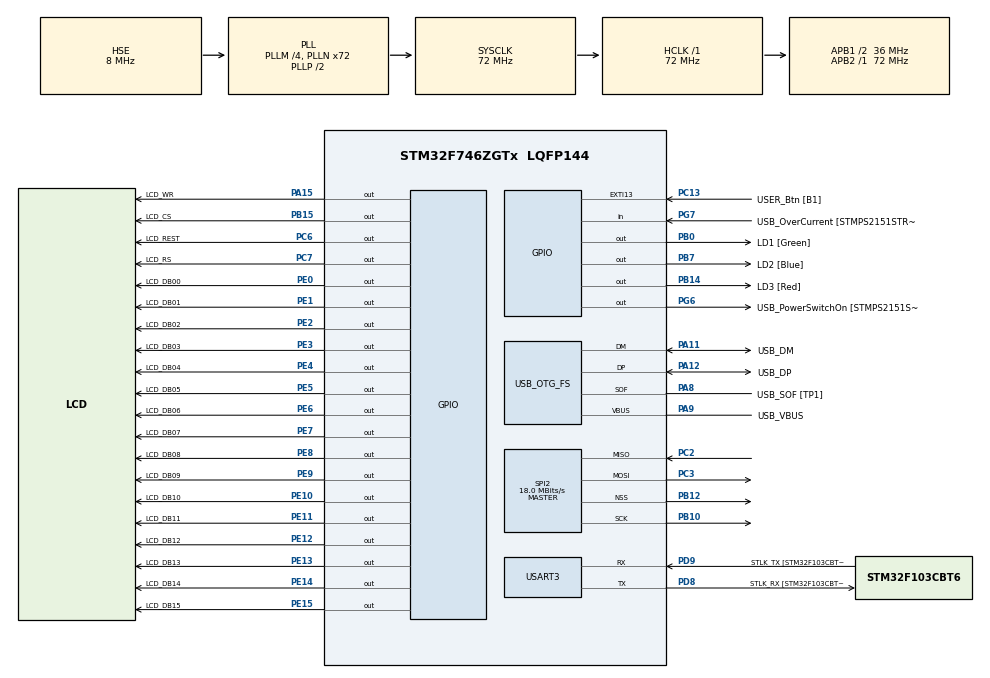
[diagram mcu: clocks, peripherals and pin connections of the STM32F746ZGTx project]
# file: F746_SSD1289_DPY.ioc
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Mcu.Family=STM32F7
Mcu.Name=STM32F746ZGTx
Mcu.Package=LQFP144
NVIC.PriorityGroup=NVIC_PRIORITYGROUP_4
NVIC.TIM1_UP_TIM10_IRQn=true\:0\:0\:false\:false\:true\:true\:true\:true
PA1.GPIO_Label=RMII_REF_CLK [LAN8742A-CZ-TR_REFCLK0]
PA1.Signal=ETH_REF_CLK
PA10.GPIO_Label=USB_ID
PA10.Signal=USB_OTG_FS_ID
PA11.GPIO_Label=USB_DM
PA11.Mode=Device_Only
PA11.Signal=USB_OTG_FS_DM
PA12.GPIO_Label=USB_DP
PA12.Mode=Device_Only
PA12.Signal=USB_OTG_FS_DP
PA13.GPIO_Label=TMS
PA13.Mode=Serial_Wire
PA13.Signal=SYS_JTMS-SWDIO
PA14.GPIO_Label=TCK
PA14.Mode=Serial_Wire
PA14.Signal=SYS_JTCK-SWCLK
PA15.GPIO_Label=LCD_WR
PA15.Signal=GPIO_Output
PA2.GPIO_Label=RMII_MDIO [LAN8742A-CZ-TR_MDIO]
PA2.Signal=ETH_MDIO
PA7.GPIO_Label=RMII_CRS_DV [LAN8742A-CZ-TR_CRS_DV]
PA7.Signal=ETH_CRS_DV
PA8.GPIO_Label=USB_SOF [TP1]
PA8.Mode=Activate_SOF_FS
PA8.Signal=USB_OTG_FS_SOF
PA9.GPIO_Label=USB_VBUS
PA9.Mode=Activate_VBUS
PA9.Signal=USB_OTG_FS_VBUS
PB0.GPIO_Label=LD1 [Green]
PB0.Signal=GPIO_Output
PB10.Mode=Full_Duplex_Master
PB10.Signal=SPI2_SCK
PB12.Mode=NSS_Signal_Hard_Output
PB12.Signal=SPI2_NSS
PB13.GPIO_Label=RMII_TXD1 [LAN8742A-CZ-TR_TXD1]
PB13.Signal=ETH_TXD1
PB14.GPIO_Label=LD3 [Red]
PB14.Signal=GPIO_Output
PB15.GPIO_Label=LCD_CS
PB15.Signal=GPIO_Output
PB3.GPIO_Label=SW0
PB3.Signal=SYS_JTDO-SWO
PB7.GPIO_Label=LD2 [Blue]
PB7.Signal=GPIO_Output
PC1.GPIO_Label=RMII_MDC [LAN8742A-CZ-TR_MDC]
PC1.Signal=ETH_MDC
PC13.GPIO_Label=USER_Btn [B1]
PC13.Signal=GPXTI13
PC14/OSC32_IN.Mode=LSE-External-Oscillator
PC14/OSC32_IN.Signal=RCC_OSC32_IN
PC15/OSC32_OUT.Mode=LSE-External-Oscillator
PC15/OSC32_OUT.Signal=RCC_OSC32_OUT
PC2.Mode=Full_Duplex_Master
PC2.Signal=SPI2_MISO
PC3.Mode=Full_Duplex_Master
PC3.Signal=SPI2_MOSI
PC4.GPIO_Label=RMII_RXD0 [LAN8742A-CZ-TR_RXD0]
PC4.Signal=ETH_RXD0
PC5.GPIO_Label=RMII_RXD1 [LAN8742A-CZ-TR_RXD1]
PC5.Signal=ETH_RXD1
PC6.GPIO_Label=LCD_REST
PC6.Signal=GPIO_Output
PC7.GPIO_Label=LCD_RS
PC7.Signal=GPIO_Output
PD8.GPIO_Label=STLK_RX [STM32F103CBT6_PA3]
PD8.Mode=Asynchronous
PD8.Signal=USART3_TX
PD9.GPIO_Label=STLK_TX [STM32F103CBT6_PA2]
PD9.Mode=Asynchronous
PD9.Signal=USART3_RX
PE0.GPIO_Label=LCD_DB00
PE0.Signal=GPIO_Output
PE1.GPIO_Label=LCD_DB01
PE1.Signal=GPIO_Output
PE10.GPIO_Label=LCD_DB10
PE10.Signal=GPIO_Output
PE11.GPIO_Label=LCD_DB11
PE11.Signal=GPIO_Output
PE12.GPIO_Label=LCD_DB12
PE12.Signal=GPIO_Output
PE13.GPIO_Label=LCD_DB13
PE13.Signal=GPIO_Output
PE14.GPIO_Label=LCD_DB14
PE14.Signal=GPIO_Output
PE15.GPIO_Label=LCD_DB15
PE15.Signal=GPIO_Output
PE2.GPIO_Label=LCD_DB02
PE2.Signal=GPIO_Output
PE3.GPIO_Label=LCD_DB03
PE3.Signal=GPIO_Output
PE4.GPIO_Label=LCD_DB04
PE4.Signal=GPIO_Output
PE5.GPIO_Label=LCD_DB05
PE5.Signal=GPIO_Output
PE6.GPIO_Label=LCD_DB06
PE6.Signal=GPIO_Output
PE7.GPIO_Label=LCD_DB07
PE7.Signal=GPIO_Output
PE8.GPIO_Label=LCD_DB08
PE8.Signal=GPIO_Output
PE9.GPIO_Label=LCD_DB09
PE9.Signal=GPIO_Output
PG11.GPIO_Label=RMII_TX_EN [LAN8742A-CZ-TR_TXEN]
PG11.Signal=ETH_TX_EN
PG13.GPIO_Label=RMII_TXD0 [LAN8742A-CZ-TR_TXD0]
PG13.Signal=ETH_TXD0
PG6.GPIO_Label=USB_PowerSwitchOn [STMPS2151STR_EN]
PG6.Signal=GPIO_Output
PG7.GPIO_Label=USB_OverCurrent [STMPS2151STR_FAULT]
PG7.Signal=GPIO_Input
PH0/OSC_IN.GPIO_Label=MCO [STM32F103CBT6_PA8]
PH0/OSC_IN.Mode=HSE-External-Clock-Source
PH0/OSC_IN.Signal=RCC_OSC_IN
PH1/OSC_OUT.Mode=HSE-External-Clock-Source
PH1/OSC_OUT.Signal=RCC_OSC_OUT
ProjectManager.HeapSize=0x200
ProjectManager.StackSize=0x400
ProjectManager.TargetToolchain=STM32CubeIDE
RCC.48MHZClocksFreq_Value=24000000
RCC.AHBFreq_Value=72000000
RCC.APB1CLKDivider=RCC_HCLK_DIV2
RCC.APB1Freq_Value=36000000
RCC.APB1TimFreq_Value=72000000
RCC.APB2Freq_Value=72000000
RCC.APB2TimFreq_Value=72000000
RCC.CortexFreq_Value=72000000
RCC.HCLKFreq_Value=72000000
RCC.HSE_VALUE=8000000
RCC.HSI_VALUE=16000000
RCC.PLLM=4
RCC.PLLMUL=RCC_PLL_MUL9
RCC.PLLN=72
RCC.PLLQ=3
RCC.PRESCALERUSB=RCC_USBCLKSOURCE_PLL_DIV1_5
RCC.SYSCLKFreq_VALUE=72000000
RCC.SYSCLKSource=RCC_SYSCLKSOURCE_PLLCLK
RCC.SYSCLKSourceVirtual=RCC_SYSCLKSOURCE_PLLCLK
RCC.USBFreq_Value=48000000
RCC.VCOOutputFreq_Value=144000000
SPI2.CalculateBaudRate=18.0 MBits/s
SPI2.Direction=SPI_DIRECTION_2LINES
SPI2.Mode=SPI_MODE_MASTER
SPI2.VirtualNSS=VM_NSSHARD
SPI2.VirtualType=VM_MASTER
TIM10.AutoReloadPreload=TIM_AUTORELOAD_PRELOAD_ENABLE
TIM10.Period=7200
TIM10.Prescaler=10000
USART3.VirtualMode-Asynchronous=VM_ASYNC
USB_OTG_FS.VirtualMode=Device_Only
VP_TIM10_VS_ClockSourceINT.Mode=Enable_Timer
board=NUCLEO-F746ZG

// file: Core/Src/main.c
/* USER CODE BEGIN Header */
/**
  ******************************************************************************
  * @file           : main.c
  * @brief          : Main program body
  ******************************************************************************
  * @attention
  *
  * Copyright (c) 2022 STMicroelectronics.
  * All rights reserved.
  *
  * This software is licensed under terms that can be found in the LICENSE file
  * in the root directory of this software component.
  * If no LICENSE file comes with this software, it is provided AS-IS.
  *
  ******************************************************************************
  */
/* USER CODE END Header */
#include "main.h"

/* USER CODE BEGIN Includes */
//#include "main_cpp.hpp"
#include "ssd1289/lcd_main.h"
#include "ssd1289/ssd1289_hal.h"
#include <stdio.h>
/* USER CODE END Includes */

SPI_HandleTypeDef hspi2;

TIM_HandleTypeDef htim10;

UART_HandleTypeDef huart3;

PCD_HandleTypeDef hpcd_USB_OTG_FS;

/* USER CODE BEGIN PV */
uint32_t LED_Fun_Cnt = 0;
char CounterText[24];
/* USER CODE END PV */

void SystemClock_Config(void);
static void MX_GPIO_Init(void);
static void MX_USART3_UART_Init(void);
static void MX_USB_OTG_FS_PCD_Init(void);
static void MX_SPI2_Init(void);
static void MX_TIM10_Init(void);

/* USER CODE BEGIN 0 */
void NUCLEO_LEDs_FUN() {
	int r = rand() % 8;
	GPIO_PinState ps;
	  ps = ((r & 0x01) > 0) ? GPIO_PIN_SET : GPIO_PIN_RESET;
	  HAL_GPIO_WritePin(LD1_GPIO_Port, LD1_Pin, ps);
	  ps = ((r & 0x02) > 0) ? GPIO_PIN_SET : GPIO_PIN_RESET;
	  HAL_GPIO_WritePin(LD2_GPIO_Port, LD2_Pin, ps);
	  ps = ((r & 0x04) > 0) ? GPIO_PIN_SET : GPIO_PIN_RESET;
	  HAL_GPIO_WritePin(LD3_GPIO_Port, LD3_Pin, ps);
	LED_Fun_Cnt++;
}
/* USER CODE END 0 */

int main(void)
{

  /* MCU Configuration--------------------------------------------------------*/

  /* Reset of all peripherals, Initializes the Flash interface and the Systick. */
  HAL_Init();

  /* Configure the system clock */
  SystemClock_Config();

  /* Initialize all configured peripherals */
  MX_GPIO_Init();
  MX_USART3_UART_Init();
  MX_USB_OTG_FS_PCD_Init();
  MX_SPI2_Init();
  MX_TIM10_Init();
  /* USER CODE BEGIN 2 */
  HAL_TIM_Base_Start_IT(&htim10);

  //main_cpp(); /// <<<<<<<<<<<<<<<<< your c++ Infinite loop
  /* USER CODE END 2 */

  /* Infinite loop */
  /* USER CODE BEGIN WHILE */
  LCD_Initialise();

  //lcd_main();
  while (1)
  {
	  LCD_Writeln(5, 20, "SIMON");
	  sprintf(CounterText, "Cnt: %4d    ", (int)LED_Fun_Cnt);
	  LCD_Rect_Fill(70, 25, 140, 40, BLACK);
	  LCD_Writeln(5, 40, CounterText);

    /* USER CODE END WHILE */

    /* USER CODE BEGIN 3 */
	  HAL_Delay(100);
  }
  /* USER CODE END 3 */
}

void SystemClock_Config(void)
{
  RCC_OscInitTypeDef RCC_OscInitStruct = {0};
  RCC_ClkInitTypeDef RCC_ClkInitStruct = {0};

  /** Configure LSE Drive Capability
  */
  HAL_PWR_EnableBkUpAccess();

  /** Configure the main internal regulator output voltage
  */
  __HAL_RCC_PWR_CLK_ENABLE();
  __HAL_PWR_VOLTAGESCALING_CONFIG(PWR_REGULATOR_VOLTAGE_SCALE3);

  /** Initializes the RCC Oscillators according to the specified parameters
  * in the RCC_OscInitTypeDef structure.
  */
  RCC_OscInitStruct.OscillatorType = RCC_OSCILLATORTYPE_HSE;
  RCC_OscInitStruct.HSEState = RCC_HSE_BYPASS;
  RCC_OscInitStruct.PLL.PLLState = RCC_PLL_ON;
  RCC_OscInitStruct.PLL.PLLSource = RCC_PLLSOURCE_HSE;
  RCC_OscInitStruct.PLL.PLLM = 4;
  RCC_OscInitStruct.PLL.PLLN = 72;
  RCC_OscInitStruct.PLL.PLLP = RCC_PLLP_DIV2;
  RCC_OscInitStruct.PLL.PLLQ = 3;
  if (HAL_RCC_OscConfig(&RCC_OscInitStruct) != HAL_OK)
  {
    Error_Handler();
  }

  /** Initializes the CPU, AHB and APB buses clocks
  */
  RCC_ClkInitStruct.ClockType = RCC_CLOCKTYPE_HCLK|RCC_CLOCKTYPE_SYSCLK
                              |RCC_CLOCKTYPE_PCLK1|RCC_CLOCKTYPE_PCLK2;
  RCC_ClkInitStruct.SYSCLKSource = RCC_SYSCLKSOURCE_PLLCLK;
  RCC_ClkInitStruct.AHBCLKDivider = RCC_SYSCLK_DIV1;
  RCC_ClkInitStruct.APB1CLKDivider = RCC_HCLK_DIV2;
  RCC_ClkInitStruct.APB2CLKDivider = RCC_HCLK_DIV1;

  if (HAL_RCC_ClockConfig(&RCC_ClkInitStruct, FLASH_LATENCY_2) != HAL_OK)
  {
    Error_Handler();
  }
}

static void MX_SPI2_Init(void)
{

  /* SPI2 parameter configuration*/
  hspi2.Instance = SPI2;
  hspi2.Init.Mode = SPI_MODE_MASTER;
  hspi2.Init.Direction = SPI_DIRECTION_2LINES;
  hspi2.Init.DataSize = SPI_DATASIZE_4BIT;
  hspi2.Init.CLKPolarity = SPI_POLARITY_LOW;
  hspi2.Init.CLKPhase = SPI_PHASE_1EDGE;
  hspi2.Init.NSS = SPI_NSS_HARD_OUTPUT;
  hspi2.Init.BaudRatePrescaler = SPI_BAUDRATEPRESCALER_2;
  hspi2.Init.FirstBit = SPI_FIRSTBIT_MSB;
  hspi2.Init.TIMode = SPI_TIMODE_DISABLE;
  hspi2.Init.CRCCalculation = SPI_CRCCALCULATION_DISABLE;
  hspi2.Init.CRCPolynomial = 7;
  hspi2.Init.CRCLength = SPI_CRC_LENGTH_DATASIZE;
  hspi2.Init.NSSPMode = SPI_NSS_PULSE_ENABLE;
  if (HAL_SPI_Init(&hspi2) != HAL_OK)
  {
    Error_Handler();
  }

}

static void MX_TIM10_Init(void)
{

  htim10.Instance = TIM10;
  htim10.Init.Prescaler = 10000;
  htim10.Init.CounterMode = TIM_COUNTERMODE_UP;
  htim10.Init.Period = 7200;
  htim10.Init.ClockDivision = TIM_CLOCKDIVISION_DIV1;
  htim10.Init.AutoReloadPreload = TIM_AUTORELOAD_PRELOAD_ENABLE;
  if (HAL_TIM_Base_Init(&htim10) != HAL_OK)
  {
    Error_Handler();
  }

}

static void MX_USART3_UART_Init(void)
{

  huart3.Instance = USART3;
  huart3.Init.BaudRate = 115200;
  huart3.Init.WordLength = UART_WORDLENGTH_8B;
  huart3.Init.StopBits = UART_STOPBITS_1;
  huart3.Init.Parity = UART_PARITY_NONE;
  huart3.Init.Mode = UART_MODE_TX_RX;
  huart3.Init.HwFlowCtl = UART_HWCONTROL_NONE;
  huart3.Init.OverSampling = UART_OVERSAMPLING_16;
  huart3.Init.OneBitSampling = UART_ONE_BIT_SAMPLE_DISABLE;
  huart3.AdvancedInit.AdvFeatureInit = UART_ADVFEATURE_NO_INIT;
  if (HAL_UART_Init(&huart3) != HAL_OK)
  {
    Error_Handler();
  }

}

static void MX_USB_OTG_FS_PCD_Init(void)
{

  hpcd_USB_OTG_FS.Instance = USB_OTG_FS;
  hpcd_USB_OTG_FS.Init.dev_endpoints = 6;
  hpcd_USB_OTG_FS.Init.speed = PCD_SPEED_FULL;
  hpcd_USB_OTG_FS.Init.dma_enable = DISABLE;
  hpcd_USB_OTG_FS.Init.phy_itface = PCD_PHY_EMBEDDED;
  hpcd_USB_OTG_FS.Init.Sof_enable = ENABLE;
  hpcd_USB_OTG_FS.Init.low_power_enable = DISABLE;
  hpcd_USB_OTG_FS.Init.lpm_enable = DISABLE;
  hpcd_USB_OTG_FS.Init.vbus_sensing_enable = ENABLE;
  hpcd_USB_OTG_FS.Init.use_dedicated_ep1 = DISABLE;
  if (HAL_PCD_Init(&hpcd_USB_OTG_FS) != HAL_OK)
  {
    Error_Handler();
  }

}

static void MX_GPIO_Init(void)
{
  GPIO_InitTypeDef GPIO_InitStruct = {0};

  /* GPIO Ports Clock Enable */
  __HAL_RCC_GPIOE_CLK_ENABLE();
  __HAL_RCC_GPIOC_CLK_ENABLE();
  __HAL_RCC_GPIOH_CLK_ENABLE();
  __HAL_RCC_GPIOA_CLK_ENABLE();
  __HAL_RCC_GPIOB_CLK_ENABLE();
  __HAL_RCC_GPIOD_CLK_ENABLE();
  __HAL_RCC_GPIOG_CLK_ENABLE();

  /*Configure GPIO pin Output Level */
  HAL_GPIO_WritePin(GPIOE, LCD_DB02_Pin|LCD_DB03_Pin|LCD_DB04_Pin|LCD_DB05_Pin
                          |LCD_DB06_Pin|LCD_DB07_Pin|LCD_DB08_Pin|LCD_DB09_Pin
                          |LCD_DB10_Pin|LCD_DB11_Pin|LCD_DB12_Pin|LCD_DB13_Pin
                          |LCD_DB14_Pin|LCD_DB15_Pin|LCD_DB00_Pin|LCD_DB01_Pin, GPIO_PIN_RESET);

  /*Configure GPIO pin Output Level */
  HAL_GPIO_WritePin(GPIOB, LD1_Pin|LD3_Pin|LCD_CS_Pin|LD2_Pin, GPIO_PIN_RESET);

  /*Configure GPIO pin Output Level */
  HAL_GPIO_WritePin(USB_PowerSwitchOn_GPIO_Port, USB_PowerSwitchOn_Pin, GPIO_PIN_RESET);

  /*Configure GPIO pin Output Level */
  HAL_GPIO_WritePin(GPIOC, LCD_REST_Pin|LCD_RS_Pin, GPIO_PIN_RESET);

  /*Configure GPIO pin Output Level */
  HAL_GPIO_WritePin(LCD_WR_GPIO_Port, LCD_WR_Pin, GPIO_PIN_RESET);

  /*Configure GPIO pins : LCD_DB02_Pin LCD_DB03_Pin LCD_DB04_Pin LCD_DB05_Pin
                           LCD_DB06_Pin LCD_DB07_Pin LCD_DB08_Pin LCD_DB09_Pin
                           LCD_DB10_Pin LCD_DB11_Pin LCD_DB12_Pin LCD_DB13_Pin
                           LCD_DB14_Pin LCD_DB15_Pin LCD_DB00_Pin LCD_DB01_Pin */
  GPIO_InitStruct.Pin = LCD_DB02_Pin|LCD_DB03_Pin|LCD_DB04_Pin|LCD_DB05_Pin
                          |LCD_DB06_Pin|LCD_DB07_Pin|LCD_DB08_Pin|LCD_DB09_Pin
                          |LCD_DB10_Pin|LCD_DB11_Pin|LCD_DB12_Pin|LCD_DB13_Pin
                          |LCD_DB14_Pin|LCD_DB15_Pin|LCD_DB00_Pin|LCD_DB01_Pin;
  GPIO_InitStruct.Mode = GPIO_MODE_OUTPUT_PP;
  GPIO_InitStruct.Pull = GPIO_NOPULL;
  GPIO_InitStruct.Speed = GPIO_SPEED_FREQ_LOW;
  HAL_GPIO_Init(GPIOE, &GPIO_InitStruct);

  /*Configure GPIO pin : USER_Btn_Pin */
  GPIO_InitStruct.Pin = USER_Btn_Pin;
  GPIO_InitStruct.Mode = GPIO_MODE_IT_RISING;
  GPIO_InitStruct.Pull = GPIO_NOPULL;
  HAL_GPIO_Init(USER_Btn_GPIO_Port, &GPIO_InitStruct);

  /*Configure GPIO pins : RMII_MDC_Pin RMII_RXD0_Pin RMII_RXD1_Pin */
  GPIO_InitStruct.Pin = RMII_MDC_Pin|RMII_RXD0_Pin|RMII_RXD1_Pin;
  GPIO_InitStruct.Mode = GPIO_MODE_AF_PP;
  GPIO_InitStruct.Pull = GPIO_NOPULL;
  GPIO_InitStruct.Speed = GPIO_SPEED_FREQ_VERY_HIGH;
  GPIO_InitStruct.Alternate = GPIO_AF11_ETH;
  HAL_GPIO_Init(GPIOC, &GPIO_InitStruct);

  /*Configure GPIO pins : RMII_REF_CLK_Pin RMII_MDIO_Pin RMII_CRS_DV_Pin */
  GPIO_InitStruct.Pin = RMII_REF_CLK_Pin|RMII_MDIO_Pin|RMII_CRS_DV_Pin;
  GPIO_InitStruct.Mode = GPIO_MODE_AF_PP;
  GPIO_InitStruct.Pull = GPIO_NOPULL;
  GPIO_InitStruct.Speed = GPIO_SPEED_FREQ_VERY_HIGH;
  GPIO_InitStruct.Alternate = GPIO_AF11_ETH;
  HAL_GPIO_Init(GPIOA, &GPIO_InitStruct);

  /*Configure GPIO pins : LD1_Pin LD3_Pin LCD_CS_Pin LD2_Pin */
  GPIO_InitStruct.Pin = LD1_Pin|LD3_Pin|LCD_CS_Pin|LD2_Pin;
  GPIO_InitStruct.Mode = GPIO_MODE_OUTPUT_PP;
  GPIO_InitStruct.Pull = GPIO_NOPULL;
  GPIO_InitStruct.Speed = GPIO_SPEED_FREQ_LOW;
  HAL_GPIO_Init(GPIOB, &GPIO_InitStruct);

  /*Configure GPIO pin : RMII_TXD1_Pin */
  GPIO_InitStruct.Pin = RMII_TXD1_Pin;
  GPIO_InitStruct.Mode = GPIO_MODE_AF_PP;
  GPIO_InitStruct.Pull = GPIO_NOPULL;
  GPIO_InitStruct.Speed = GPIO_SPEED_FREQ_VERY_HIGH;
  GPIO_InitStruct.Alternate = GPIO_AF11_ETH;
  HAL_GPIO_Init(RMII_TXD1_GPIO_Port, &GPIO_InitStruct);

  /*Configure GPIO pin : USB_PowerSwitchOn_Pin */
  GPIO_InitStruct.Pin = USB_PowerSwitchOn_Pin;
  GPIO_InitStruct.Mode = GPIO_MODE_OUTPUT_PP;
  GPIO_InitStruct.Pull = GPIO_NOPULL;
  GPIO_InitStruct.Speed = GPIO_SPEED_FREQ_LOW;
  HAL_GPIO_Init(USB_PowerSwitchOn_GPIO_Port, &GPIO_InitStruct);

  /*Configure GPIO pin : USB_OverCurrent_Pin */
  GPIO_InitStruct.Pin = USB_OverCurrent_Pin;
  GPIO_InitStruct.Mode = GPIO_MODE_INPUT;
  GPIO_InitStruct.Pull = GPIO_NOPULL;
  HAL_GPIO_Init(USB_OverCurrent_GPIO_Port, &GPIO_InitStruct);

  /*Configure GPIO pins : LCD_REST_Pin LCD_RS_Pin */
  GPIO_InitStruct.Pin = LCD_REST_Pin|LCD_RS_Pin;
  GPIO_InitStruct.Mode = GPIO_MODE_OUTPUT_PP;
  GPIO_InitStruct.Pull = GPIO_NOPULL;
  GPIO_InitStruct.Speed = GPIO_SPEED_FREQ_LOW;
  HAL_GPIO_Init(GPIOC, &GPIO_InitStruct);

  /*Configure GPIO pin : LCD_WR_Pin */
  GPIO_InitStruct.Pin = LCD_WR_Pin;
  GPIO_InitStruct.Mode = GPIO_MODE_OUTPUT_PP;
  GPIO_InitStruct.Pull = GPIO_NOPULL;
  GPIO_InitStruct.Speed = GPIO_SPEED_FREQ_LOW;
  HAL_GPIO_Init(LCD_WR_GPIO_Port, &GPIO_InitStruct);

  /*Configure GPIO pins : RMII_TX_EN_Pin RMII_TXD0_Pin */
  GPIO_InitStruct.Pin = RMII_TX_EN_Pin|RMII_TXD0_Pin;
  GPIO_InitStruct.Mode = GPIO_MODE_AF_PP;
  GPIO_InitStruct.Pull = GPIO_NOPULL;
  GPIO_InitStruct.Speed = GPIO_SPEED_FREQ_VERY_HIGH;
  GPIO_InitStruct.Alternate = GPIO_AF11_ETH;
  HAL_GPIO_Init(GPIOG, &GPIO_InitStruct);

}

/* USER CODE BEGIN 4 */

// Callback from roll over timers
void HAL_TIM_PeriodElapsedCallback(TIM_HandleTypeDef *htim) {
	if (htim == &htim10) {
		NUCLEO_LEDs_FUN();
	}
}

/* USER CODE END 4 */

void Error_Handler(void)
{
  __disable_irq();
  while (1)
  {
  }
}
